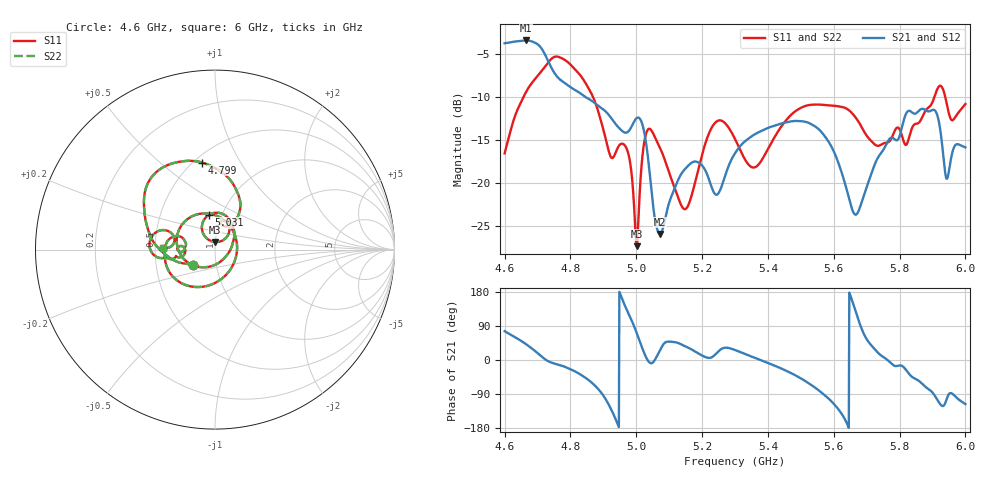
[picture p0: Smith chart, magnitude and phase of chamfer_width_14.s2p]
! TOUCHSTONE file generated by CST MICROWAVE STUDIO
! Date and time: Sat Nov 30 03:28:49 2024
! Project name: test_tuning.cst
! Parameters = {airCoaxOuterDiameter=3; chamferAngle=45; chamferWidth=28; connectorLength=10; drillingHoleDiameter=4.1; feedLength=60; flareDiameter=130; flareLength=70; gratingDistance=0; gratingGap=1.90274; outletLength=30; polarizerLength=134; probe1Diameter=1.3; probe1Distance=14; probe1Length=1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
! Header version: 2024
! Port assignment regex: !\s*Touchstone port\s*([0-9]+)\s*=\s*(CST MWS port|CST DES external port|CST DES block port)\s*(.+)\s* \(\"(.*)\"\)(\s*mode\s*([0-9]+))?.*
! Touchstone port assignment:
! Touchstone port 1 = CST MWS port 1 ("Input1")
! Touchstone port 2 = CST MWS port 2 ("Input2")
# GHz S MA R 50
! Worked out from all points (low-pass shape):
!   1001 points, 4.6 GHz to 6 GHz, reference 50 ohm
!   highest |S21| = -3.44 dB at 4.666 GHz (marker M1); lowest = -26.0 dB at 5.072 GHz (marker M2)
!   |S21| within 3 dB of the highest: start of sweep to 4.74 GHz
!   lowest |S11| = -27.4 dB at 5.002 GHz (marker M3), VSWR 1.09, Z = 49.7 + j4.24 ohm
!   |S11| at or under -10 dB: start of sweep to 4.658 GHz; 4.868 GHz to 5.906 GHz (1.038 GHz wide, 19.3 % of centre); 5.939 GHz to end of sweep
!   |S22| runs from -27.4 to -5.3 dB; largest |S21 - S12| = 9.7e-07
!   S11 on the Smith chart (normalised r, x): 4.6 GHz: 0.77, -0.13; 4.799 GHz: 0.55, +0.70; 5.031 GHz: 0.87, +0.35; 6 GHz: 0.55, +0.01
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4.6  0.1479 -145.3  0.6487 76.1  0.6487 76.1  0.1479 -145.3
4.6658  0.339 174.1  0.6733 41.4  0.6733 41.4  0.339 174.1
4.7372  0.5136 138.8  0.4875 -5.2  0.4875 -5.2  0.5136 138.8
4.7988  0.49 98.3  0.3616 -23.9  0.3616 -23.9  0.49 98.3
4.8338  0.4127 80.6  0.3275 -40.2  0.3275 -40.2  0.4127 80.6
4.9416  0.1564 78.5  0.2146 -165.0  0.2146 -165.0  0.1564 78.5
4.9752  0.1492 58.3  0.198 124.8  0.198 124.8  0.1492 58.3
5.0018  0.04266 91.9  0.2382 70.2  0.2382 70.2  0.04266 91.9
5.0312  0.1967 99.7  0.163 4.8  0.163 4.8  0.1967 99.7
5.0676  0.166 54.1  0.05122 17.9  0.05122 17.9  0.166 54.1
5.0718  0.1597 50.5  0.05029 25.1  0.05029 25.1  0.1597 50.5
5.1474  0.07005 -43.8  0.1196 36.8  0.1196 36.8  0.07005 -43.8
5.2356  0.2184 167.7  0.08786 10.9  0.08786 10.9  0.2185 167.7
5.3  0.1797 79.4  0.1482 26.4  0.1482 26.4  0.1797 79.4
5.3616  0.1231 -16.3  0.1922 5.3  0.1922 5.3  0.1231 -16.3
5.5338  0.2844 -156.9  0.218 -67.1  0.218 -67.1  0.2844 -156.9
5.6654  0.2411 162.4  0.06514 131.4  0.06514 131.4  0.2411 162.4
5.7676  0.1727 -179.2  0.1779 -3.4  0.1779 -3.4  0.1727 -179.2
5.8712  0.2466 -167.6  0.2691 -65.1  0.2691 -65.1  0.2466 -167.6
5.9132  0.3453 -175.6  0.2516 -102.8  0.2516 -102.8  0.3453 -175.6
5.9426  0.2925 158.5  0.1055 -104.6  0.1055 -104.6  0.2925 158.5
6  0.2871 178.7  0.1604 -116.4  0.1604 -116.4  0.2871 178.7
